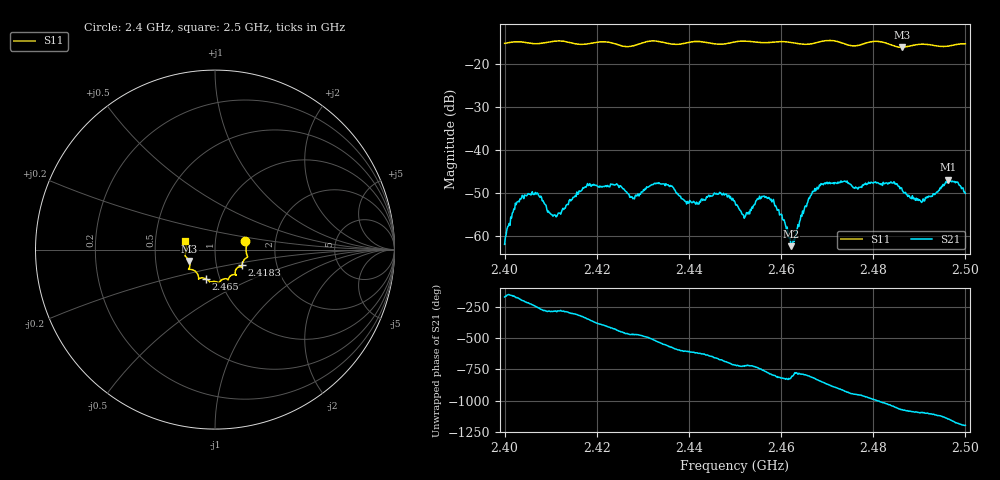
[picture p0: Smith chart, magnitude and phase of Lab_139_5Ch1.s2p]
# Hz S RI R 50
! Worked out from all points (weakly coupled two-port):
!   601 points, 2.4 GHz to 2.5 GHz, reference 50 ohm
!   highest |S21| = -46.92 dB at 2.4963 GHz (marker M1); lowest = -62.4 dB at 2.4622 GHz (marker M2)
!   lowest |S11| = -16.1 dB at 2.4862 GHz (marker M3), VSWR 1.37, Z = 37.2 - j4.87 ohm
!   |S11| at or under -10 dB: start of sweep to end of sweep
!   S12 and S22 are empty: the file has one direction only
!   S11 on the Smith chart (normalised r, x): 2.4 GHz: 1.40, +0.13; 2.4183 GHz: 1.33, -0.24; 2.465 GHz: 0.86, -0.29; 2.5 GHz: 0.71, +0.07
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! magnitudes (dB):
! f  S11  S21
! 2.4 GHz  -15.2  -61.9
! 2.4038 GHz  -14.8  -50.5
! 2.407 GHz  -15.2  -50.0
! 2.411 GHz  -14.7  -55.1
! 2.4167 GHz  -15.4  -49.4
! 2.4183 GHz  -15.2  -48.1
! 2.4277 GHz  -15.8  -50.9
! 2.4333 GHz  -14.7  -47.8
! 2.4395 GHz  -15.0  -52.5
! 2.4465 GHz  -15.4  -50.2
! 2.45 GHz  -14.8  -52.1
! 2.452 GHz  -14.6  -55.8
! 2.4578 GHz  -14.9  -51.4
! 2.4622 GHz  -15.0  -62.4
! 2.465 GHz  -15.4  -54.0
! 2.4667 GHz  -15.3  -50.2
! 2.47 GHz  -14.5  -47.5
! 2.4833 GHz  -15.3  -47.6
! 2.4862 GHz  -16.1  -48.8
! 2.4907 GHz  -15.4  -51.9
! 2.4963 GHz  -15.8  -46.9
! 2.5 GHz  -15.3  -50.1
